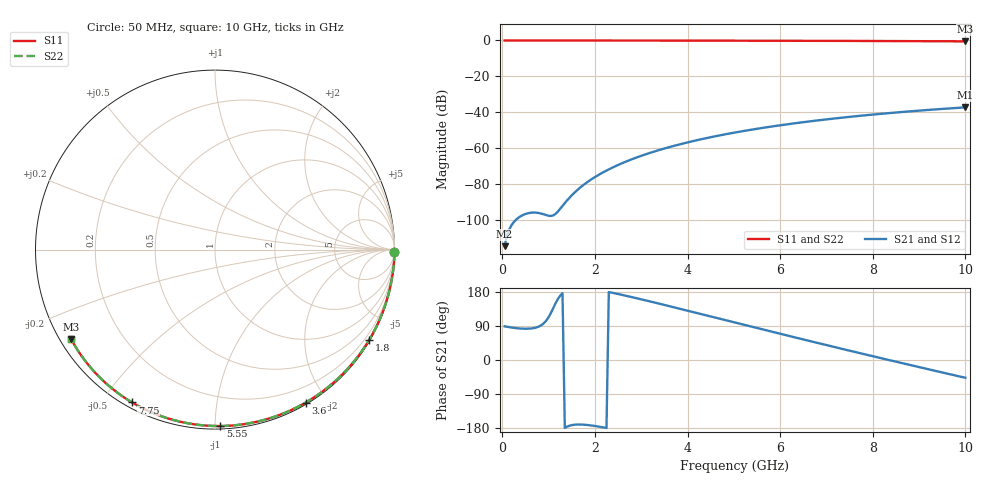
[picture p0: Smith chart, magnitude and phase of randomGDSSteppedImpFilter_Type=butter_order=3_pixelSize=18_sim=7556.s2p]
! freq	dB(S11)	phase(S11)	dB(S12)	phase(S12)
!  dB(S21)	phase(S21)	dB(S22)	phase(S22)
!S-par simulation data
#  GHz  S  DB  R 50
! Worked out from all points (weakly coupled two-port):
!   200 points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, 50 MHz to 10 GHz, reference 50 ohm
!   highest |S21| = -37.26 dB at 10 GHz (marker M1); lowest = -114.5 dB at 50 MHz (marker M2)
!   lowest |S11| = -0.5 dB at 10 GHz (marker M3), VSWR 34.75, Z = 1.56 - j14.3 ohm
!   |S11| at or under -10 dB: nowhere
!   |S22| runs from -0.5 to 0.0 dB; largest |S21 - S12| = 0
!   S11 on the Smith chart (normalised r, x): 50 MHz: open; 1.8 GHz: 0.03, -3.68; 3.6 GHz: 0.02, -1.76; 5.55 GHz: 0.02, -1.03; 7.75 GHz: 0.02, -0.60; 10 GHz: 0.03, -0.29
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0.05  -0.00 -0.9  -114.55 88.8  -114.55 88.8  -0.00 -0.9
0.45  -0.01 -7.7  -97.15 82.7  -97.15 82.7  -0.01 -7.7
0.9  -0.02 -15.4  -96.85 97.3  -96.85 97.3  -0.02 -15.4
1.3  -0.03 -22.1  -92.14 176.2  -92.14 176.2  -0.03 -22.1
1.75  -0.04 -29.6  -80.51 -170.6  -80.51 -170.6  -0.04 -29.6
1.8  -0.04 -30.4  -79.53 -171.1  -79.53 -171.1  -0.04 -30.4
1.95  -0.04 -32.9  -76.88 -173.2  -76.88 -173.2  -0.04 -32.9
2.1  -0.05 -35.4  -74.54 -176.1  -74.54 -176.1  -0.05 -35.4
2.3  -0.05 -38.6  -71.78 179.3  -71.78 179.3  -0.05 -38.7
2.5  -0.05 -41.9  -69.34 174.2  -69.34 174.2  -0.05 -41.9
2.9  -0.06 -48.3  -65.17 163.1  -65.17 163.1  -0.06 -48.3
3.4  -0.07 -56.2  -60.91 148.3  -60.91 148.3  -0.07 -56.2
3.6  -0.08 -59.3  -59.43 142.3  -59.43 142.3  -0.08 -59.4
4.3  -0.10 -70.0  -54.98 121.0  -54.98 121.0  -0.10 -70.1
5.05  -0.12 -81.1  -51.14 98.1  -51.14 98.1  -0.12 -81.2
5.55  -0.14 -88.3  -48.97 82.8  -48.97 82.8  -0.15 -88.4
6.1  -0.17 -96.1  -46.87 66.2  -46.87 66.2  -0.17 -96.1
6.7  -0.20 -104.3  -44.86 48.2  -44.86 48.2  -0.20 -104.4
7.75  -0.27 -118.5  -41.89 17.3  -41.89 17.3  -0.27 -118.5
8.35  -0.32 -126.4  -40.45 -0.1  -40.45 -0.1  -0.32 -126.5
9.2  -0.41 -137.6  -38.68 -24.4  -38.68 -24.4  -0.41 -137.6
10  -0.50 -148.1  -37.26 -46.9  -37.26 -46.9  -0.50 -148.2
